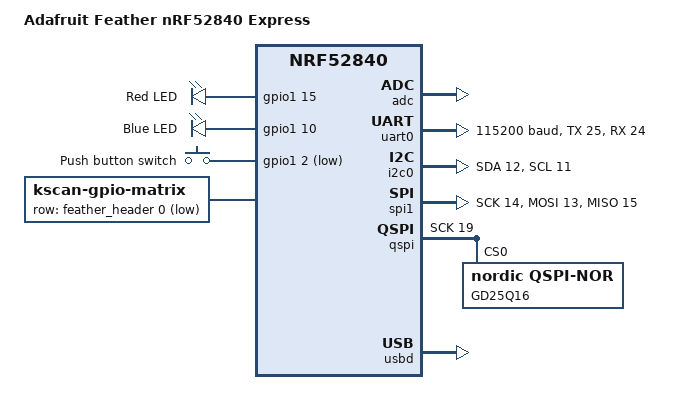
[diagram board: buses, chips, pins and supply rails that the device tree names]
/*
 * Copyright (c) 2021 The ZMK Contributors
 *
 * SPDX-License-Identifier: MIT
 */


#include <dt-bindings/zmk/matrix_transform.h>
#include "feather_connector.dtsi"

/ {
	model = "Adafruit Feather nRF52840 Express";
	compatible = "adafruit,feather-nrf52840";

	chosen {
		zephyr,console = &uart0;
		zephyr,shell-uart = &uart0;
		zephyr,uart-mcumgr = &uart0;
		zephyr,bt-mon-uart = &uart0;
		zephyr,bt-c2h-uart = &uart0;
		zephyr,sram = &sram0;
		zephyr,flash = &flash0;
		zephyr,code-partition = &slot0_partition;
	};

	leds {
		compatible = "gpio-leds";
		led0: led_0 {
			gpios = <&gpio1 15 0>;
			label = "Red LED";
		};
		led1: led_1 {
			gpios = <&gpio1 10 0>;
			label = "Blue LED";
		};
	};

	buttons {
		compatible = "gpio-keys";
		button0: button_0 {
			gpios = <&gpio1 2 (GPIO_PULL_UP | GPIO_ACTIVE_LOW)>;
			label = "Push button switch";
		};
	};

	/* These aliases are provided for compatibility with samples */
	aliases {
		led0 = &led0;
		led1 = &led1;
		sw0 = &button0;
	};
};

&adc {
	status = "okay";
};

&gpiote {
	status = "okay";
};

&gpio0 {
	status = "okay";
};

&gpio1 {
	status = "okay";
};

&uart0 {
	compatible = "nordic,nrf-uart";
	current-speed = <115200>;
	status = "okay";
	tx-pin = <25>;
	rx-pin = <24>;
};

&i2c0 {
	status = "okay";
	sda-pin = <12>;
	scl-pin = <11>;
};

&spi1 {
	compatible = "nordic,nrf-spi";
	status = "okay";
	sck-pin = <14>;
	mosi-pin = <13>;
	miso-pin = <15>;
};

&qspi {
	status = "okay";
	sck-pin = <19>;
	io-pins = <17>, <22>, <23>, <21>;
	csn-pins = <20>;
	gd25q16: gd25q16@0 {
		compatible = "nordic,qspi-nor";
		reg = <0>;
		writeoc = "pp4io";
		readoc = "read4io";
		sck-frequency = <16000000>;
		label = "GD25Q16";
		jedec-id = [c8 40 15];
		size = <16777216>;
		has-dpd;
		t-enter-dpd = <20000>;
		t-exit-dpd = <20000>;
	};
};


&flash0 {
    /delete-node/ partitions;
};

&flash0 {
	partitions {
		compatible = "fixed-partitions";
		#address-cells = <1>;
		#size-cells = <1>;

		sd_partition: partition@0 {
			label = "softdevice";
			reg = <0x00000000 0x00026000>;
		};
		code_partition: partition@26000 {
			label = "code_partition";
			reg = <0x00026000 0x000c6000>;
		};

		/*
		 * The flash starting at 0x000ec000 and ending at
		 * 0x000f3fff is reserved for use by the application.
		 */

		/*
		 * Storage partition will be used by FCB/LittleFS/NVS
		 * if enabled.
		 */
		storage_partition: partition@ec000 {
			label = "storage";
			reg = <0x000ec000 0x00008000>;
		};

		boot_partition: partition@f4000 {
			label = "adafruit_boot";
			reg = <0x000f4000 0x0000c000>;
		};
	};
};



&usbd {
	compatible = "nordic,nrf-usbd";
	status = "okay";
};


/ {
    chosen {
        zmk,kscan = &kscan0;
        zmk,matrix_transform = &default_transform;
        zephyr,code-partition = &code_partition;
    };



    kscan0: kscan {
        compatible = "zmk,kscan-gpio-matrix";
        label = "KSCAN";

        diode-direction = "col2row";
        row-gpios
            = <&feather_header 0  (GPIO_ACTIVE_LOW | GPIO_PULL_UP)>
            ;
        col-gpios
             <&feather_header 1 GPIO_ACTIVE_LOW>
            ;
    };




    default_transform: keymap_transform_0 {
        compatible = "zmk,matrix-transform";
        columns = <1>;
        rows = <1>;
   map = <
   RC(1,1)
        >;
    };
};
